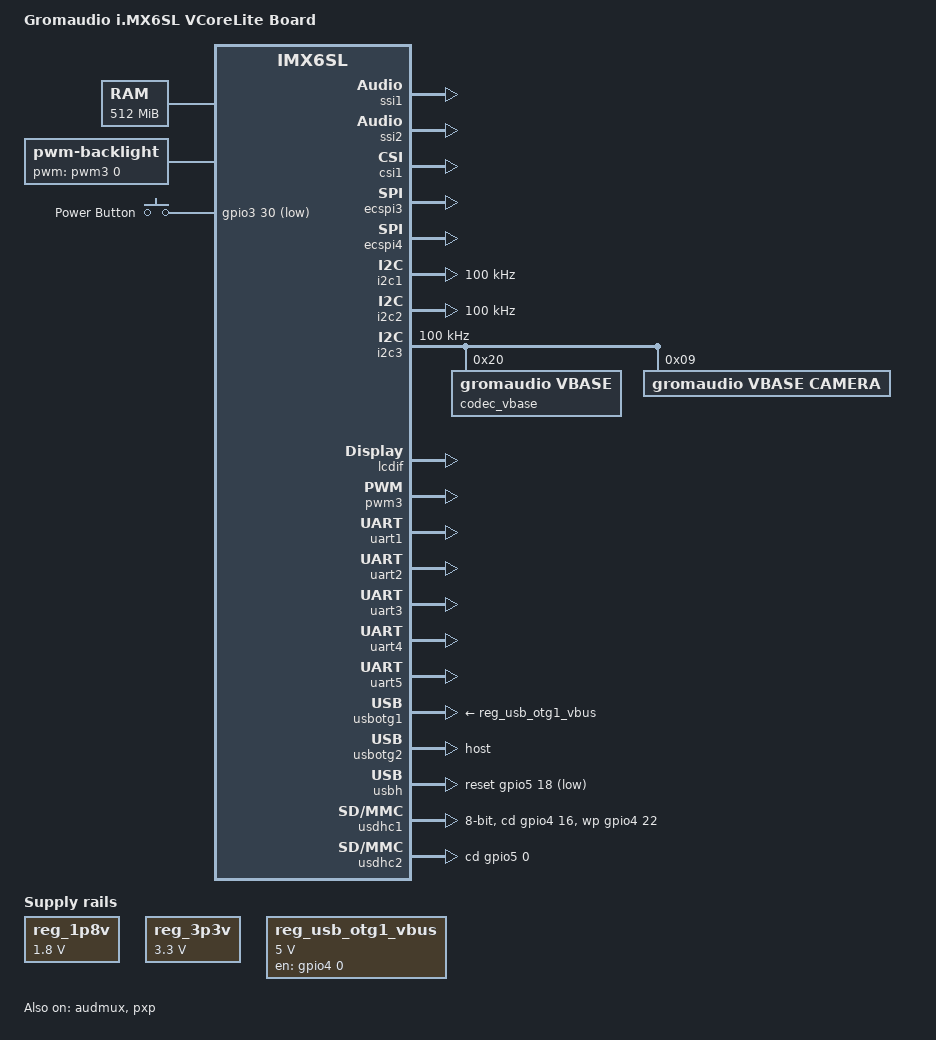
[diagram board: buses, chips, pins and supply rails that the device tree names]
/*
 * Copyright (C) 2015 X-Media tech, Inc.
 * Copyright (C) 2013-2014 Freescale Semiconductor, Inc.
 *
 * This program is free software; you can redistribute it and/or modify
 * it under the terms of the GNU General Public License version 2 as
 * published by the Free Software Foundation.
 */

/dts-v1/;

#include "imx6sl.dtsi"
#include <dt-bindings/gpio/gpio.h>
#include <dt-bindings/input/input.h>

/ {
  model      = "Gromaudio i.MX6SL VCoreLite Board";
  compatible = "fsl,imx6q-vcore-lite", "fsl,imx6sl";

  memory {
    reg = <0x80000000 0x20000000>;
  };

  regulators {
    compatible = "simple-bus";

    reg_1p8v: 1p8v {
      compatible              = "regulator-fixed";
      regulator-name          = "1P8V";
      regulator-min-microvolt = <1800000>;
      regulator-max-microvolt = <1800000>;
      regulator-always-on;
    };

    reg_3p3v: 3p3v {
      compatible              = "regulator-fixed";
      regulator-name          = "3P3V";
      regulator-min-microvolt = <3300000>;
      regulator-max-microvolt = <3300000>;
      regulator-always-on;
    };
    reg_usb_otg1_vbus: usb_otg1_vbus {
      compatible              = "regulator-fixed";
      regulator-name          = "usb_otg1_vbus";
      regulator-min-microvolt = <5000000>;
      regulator-max-microvolt = <5000000>;
      gpio                    = <&gpio4 0 0>;
      enable-active-high;
    };
  };

  pwm-backlight {
    compatible               = "pwm-backlight";
    pwms                     = <&pwm3 0 5000000>;
    brightness-levels        = <0 4 8 16 32 64 128 255>;
    default-brightness-level = <6>;
  };

  csi_v4l2_cap {
    compatible  = "fsl,imx6sl-csi-v4l2";
    csi_id      = <0>;
    status      = "okay";
  };

  ramoops_device {
    compatible   = "fsl,mxc_ramoops";
    record_size  = <524288>;  /*512K*/
    console_size = <262144>;  /*256K*/
    ftrace_size  = <262144>;  /*256K*/
    dump_oops    = <1>;
    status       = "okay";
  };

  gpio-keys {
    compatible = "gpio-keys";
    power {
      label = "Power Button";
      gpios = <&gpio3 30 GPIO_ACTIVE_LOW>;
      linux,code = <KEY_POWER>;
      gpio-key,wakeup;
    };
  };

  codec_hdmi: hdmi {
    compatible = "gromaudio,vbase-hdmi";
    clocks     = <&clks IMX6SL_CLK_EXTERN_AUDIO>;
    status     = "okay";
  };

  sound {
    compatible      = "fsl,imx6q-vcore-lite-vbase",
                      "fsl,imx-audio-vbase";
    model           = "vbase-audio";
    cpu-dai         = <&ssi1>;
    audio-codec     = <&codec_vbase>;
    mux-int-port    = <1>;
    mux-ext-port    = <4>;
  };

  sound-hdmi {
    compatible      = "fsl,imx6q-vcore-lite-vbase",
                      "fsl,imx-audio-vbase-hdmi";
    model           = "hdmi-audio";
    cpu-dai         = <&ssi2>;
    audio-codec     = <&codec_hdmi>;
    mux-int-port    = <2>;
    mux-ext-port    = <3>;
  };
};

&audmux {
  pinctrl-names = "default";
  pinctrl-0     = <&pinctrl_audmux_2>;
  status        = "okay";
};

&ssi1 {
  fsl,mode      = "i2s-slave";
  status        = "okay";
};

&ssi2 {
  fsl,mode      = "i2s-slave";
  status        = "okay";
};

&csi1 {
  status        = "okay";
};

&ecspi3 {
  fsl,spi-num-chipselects = <1>;
  cs-gpios                = <&gpio3 12 0>;
  pinctrl-names           = "default";
  pinctrl-0               = <&pinctrl_ecspi3_1>;
  status                  = "okay";
};

&ecspi4 {
  fsl,spi-num-chipselects = <1>;
  cs-gpios                = <&gpio4 18 0>;
  pinctrl-names           = "default";
  pinctrl-0               = <&pinctrl_ecspi4_1>;
  status                  = "okay";
};

&gpc {
  fsl,cpu_pupscr_sw2iso = <0xf>;
  fsl,cpu_pupscr_sw     = <0xf>;
  fsl,cpu_pdnscr_iso2sw = <0x1>;
  fsl,cpu_pdnscr_iso    = <0x1>;
  fsl,wdog-reset        = <1>;          /* watchdog select of reset source */
};

&i2c1 {
  clock-frequency = <100000>;
  pinctrl-names   = "default";
  pinctrl-0       = <&pinctrl_i2c1_2>;
  status          = "okay";
};

&i2c2 {
  clock-frequency = <100000>;
  pinctrl-names   = "default";
  pinctrl-0       = <&pinctrl_i2c2_2>;
  status          = "okay";
};

&i2c3 {
  clock-frequency = <100000>;
  pinctrl-names   = "default";
  pinctrl-0       = <&pinctrl_i2c3_1>;
  status          = "okay";

  codec_vbase: vbase@20 {
    compatible      = "gromaudio,vbase";
    reg             = <0x20>;
    clocks          = <&clks IMX6SL_CLK_EXTERN_AUDIO>;
  };

  camera: vbase@09 {
    compatible      = "gromaudio,vbase camera";
    reg             = <0x09>;
    pinctrl-names   = "default";
    pinctrl-0       = <&pinctrl_csi_1>;
    clocks          = <&clks IMX6SL_CLK_CSI>;
    clock-names     = "csi_mclk";
    csi_id          = <0>;
    mclk            = <24000000>;
    mclk_source     = <0>;
  };
};

&iomuxc {
  pinctrl-names = "default";
  pinctrl-0     = <&pinctrl_hog>;

	hog {
		pinctrl_hog: hoggrp {
			fsl,pins = <
				MX6SL_PAD_FEC_TX_EN__GPIO4_IO22     0x17059     /* SD1 WP */
				MX6SL_PAD_FEC_TXD1__GPIO4_IO16      0x17059     /* SD1 CD */
        MX6SL_PAD_FEC_RXD0__GPIO4_IO17      0x17059     /* SD1 VSELECT */
        MX6SL_PAD_SD2_DAT7__GPIO5_IO00      0x17059     /* SD2 CD */
        MX6SL_PAD_I2C1_SCL__GPIO3_IO12      0x80000000  /* ECSPI3 CS */
        MX6SL_PAD_FEC_RXD1__GPIO4_IO18      0x80000000  /* ECSPI4 CS */
        MX6SL_PAD_KEY_COL4__GPIO4_IO00      0x80000000  /* USBOTG1 PWR */
        MX6SL_PAD_SD3_CLK__GPIO5_IO18       0x17059     /* USBOTG2 RESET */
        MX6SL_PAD_KEY_COL3__GPIO3_IO30      0x17059     /* POWER BUTTON */
        MX6SL_PAD_KEY_ROW3__GPIO3_IO31      0x130D9     /* USBOTG1_VBUS_EN */
        MX6SL_PAD_REF_CLK_32K__GPIO3_IO22   0x130D9     /* USBOTG1_ID_EN */
			>;
		};
	};
};

&lcdif {
	pinctrl-names  = "default";
	pinctrl-0      = < &pinctrl_lcdif_dat_1
		                 &pinctrl_lcdif_ctrl_1>;
	display        = <&display>;
	status         = "okay";

	display: display {
		bits-per-pixel = <16>;
		bus-width      = <16>;

		display-timings {
			native-mode = <&timing0>;
			timing0: timing0 {
				clock-frequency = <40000000>;
				hactive         = <1280>;
				vactive         = <480>;
				hback-porch     = <14>;
				hfront-porch    = <37>;
				vback-porch     = <10>;
				vfront-porch    = <4>;
				hsync-len       = <14>;
				vsync-len       = <1>;
				hsync-active    = <0>;
				vsync-active    = <0>;
				de-active       = <1>;
				pixelclk-active = <0>;
			};
/*
      timing1: timing1 {
        clock-frequency = <33000000>;
        hactive         = <800>;
        vactive         = <480>;
        hback-porch     = <89>;
        hfront-porch    = <39>;
        vback-porch     = <33>;
        vfront-porch    = <10>;
        hsync-len       = <128>;
        vsync-len       = <2>;
        hsync-active    = <0>;
        vsync-active    = <0>;
        de-active       = <1>;
        pixelclk-active = <1>;
      };
*/
		};
	};
};

&pwm3 {
	pinctrl-names = "default", "sleep";
	pinctrl-0     = <&pinctrl_pwm3_0>;
	pinctrl-1     = <&pinctrl_pwm3_0_sleep>;
	status        = "okay";
};

&pxp {
	status = "okay";
};

&uart1 {
	pinctrl-names = "default";
	pinctrl-0     = <&pinctrl_uart1_1>;
	status        = "okay";
};

&uart2 {
  pinctrl-names = "default";
  pinctrl-0     = <&pinctrl_uart2_1>;
  status        = "okay";
};

&uart3 {
  pinctrl-names = "default";
  pinctrl-0     = <&pinctrl_uart3_1>;
  status        = "okay";
};

&uart4 {
  pinctrl-names = "default";
  pinctrl-0     = <&pinctrl_uart4_2>;
  status        = "okay";
};

&uart5 {
  pinctrl-names = "default";
  pinctrl-0     = <&pinctrl_uart5_1>;
  status        = "okay";
};

&usbotg1 {
  vbus-supply   = <&reg_usb_otg1_vbus>;
  pinctrl-names = "default";
  pinctrl-0     = <&pinctrl_usbotg1_1>;
  disable-over-current;
  imx6-usb-charger-detection;
  status        = "okay";
};

&usbotg2 {
  dr_mode       = "host";
  disable-over-current;
  status        = "okay";
};

&usbh {
  reset-gpios = <&gpio5 18 1>;
  status = "okay";
};

&usdhc1 {
  pinctrl-names = "default", "state_100mhz", "state_200mhz";
  pinctrl-0     = <&pinctrl_usdhc1_2>;
  pinctrl-1     = <&pinctrl_usdhc1_2_100mhz>;
  pinctrl-2     = <&pinctrl_usdhc1_2_200mhz>;
  bus-width     = <8>;
  cd-gpios      = <&gpio4 16 0>;
  wp-gpios      = <&gpio4 22 0>;
  keep-power-in-suspend;
  enable-sdio-wakeup;
  status        = "okay";
};

&usdhc2 {
  pinctrl-names = "default", "state_100mhz", "state_200mhz";
  pinctrl-0     = <&pinctrl_usdhc2_1>;
  pinctrl-1     = <&pinctrl_usdhc2_1_100mhz>;
  pinctrl-2     = <&pinctrl_usdhc2_1_200mhz>;
  cd-gpios      = <&gpio5 0 0>;
  keep-power-in-suspend;
  enable-sdio-wakeup;
  status        = "okay";
};

&epdc {
  status = "disabled";
};

&kpp {
  status = "disabled";
};
